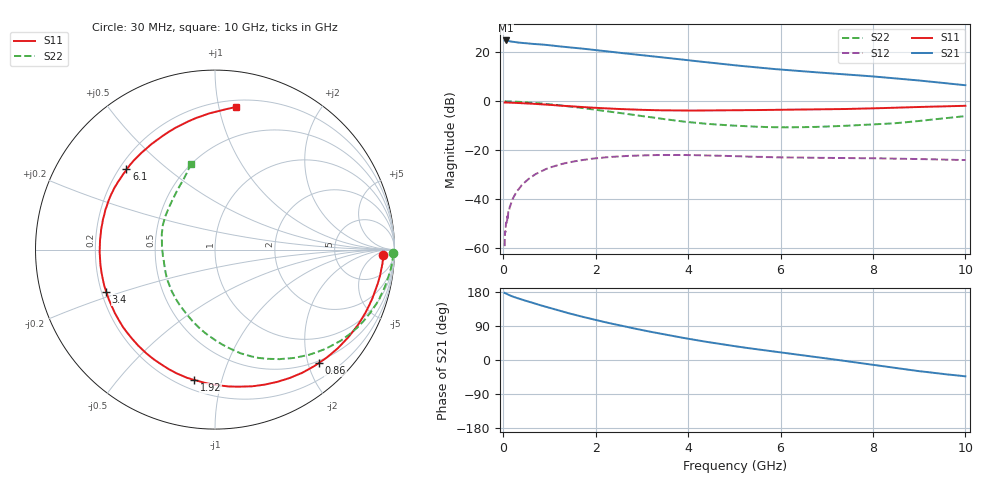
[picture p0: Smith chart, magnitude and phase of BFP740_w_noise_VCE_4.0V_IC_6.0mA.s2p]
! Infineon Technologies  Discrete & RF Semiconductors
! BFP740
! VCE =  4.0 V,  IC =  6.0 mA
! Common Emitter S-Parameters:  Jan 2016
# GHz  S  MA  R  50
!  f  S11  S21  S12  S22
! GHz  MAG  ANG  MAG  ANG  MAG  ANG  MAG  ANG
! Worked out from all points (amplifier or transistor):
!   229 points, 30 MHz to 10 GHz, reference 50 ohm
!   highest |S21| = 24.8 dB at 50 MHz (marker M1)
!   |S21| within 3 dB of that: start of sweep to 1.526 GHz
!   unconditionally stable (mu >= 1): 7.721 GHz to end of sweep
!   at 280 MHz: K = 0.13, MSG = 30.6 dB, |S12| = -37.3 dB
!   at 1.78 GHz: K = 0.25, MSG = 22.5 dB, |S12| = -23.8 dB
!   at 10 GHz: K = 1.13, MAG = 13.1 dB, |S12| = -24.0 dB
!   lowest NFmin = 0.45 dB at 450 MHz
!   S11 on the Smith chart (normalised r, x): 30 MHz: 25, -12; 860 MHz: 0.46, -2.20; 1.92 GHz: 0.26, -0.82; 3.4 GHz: 0.22, -0.18; 6.1 GHz: 0.23, +0.37; 10 GHz: 0.25, +1.13
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0.03  0.9378 -1.8  17.17 177.1  0.0011 49.5  0.9922 -1.2
0.04  0.938 -2.3  17.08 176.4  0.0022 87.9  0.9922 -1.5
0.05  0.9371 -3.0  17.29 176.1  0.0022 54.5  0.9916 -2.1
0.12  0.9326 -7.2  16.84 171.6  0.0061 78.8  0.9885 -4.8
0.26  0.9205 -15.0  16.02 165.1  0.0127 79.5  0.9749 -10.1
0.56  0.8923 -31.2  14.92 153.6  0.0263 69.4  0.939 -20.8
0.86  0.8569 -47.4  14.23 142.5  0.0386 60.4  0.8909 -31.1
1.22  0.8118 -65.7  13.09 129.9  0.0509 49.7  0.8207 -42.9
1.4  0.7898 -74.6  12.6 123.9  0.0558 45.1  0.7861 -48.2
1.7  0.7551 -89.1  11.82 114.5  0.0626 37.9  0.7264 -56.7
1.92  0.736 -99.0  11.21 108.2  0.0669 33.0  0.6838 -62.9
2.3  0.7051 -115.8  10.24 97.1  0.0725 25.0  0.6149 -73.1
2.54  0.6897 -125.4  9.637 90.9  0.0749 20.3  0.5726 -79.2
2.92  0.6687 -140.7  8.826 81.1  0.0778 13.9  0.5097 -89.0
3.4  0.6502 -158.8  7.894 69.6  0.0795 6.4  0.441 -102.2
3.8  0.6439 -172.6  7.183 60.5  0.08 0.8  0.394 -113.4
4.2  0.6428 175.3  6.508 52.0  0.079 -4.2  0.3589 -125.2
5.1  0.6532 154.0  5.282 34.9  0.075 -12.3  0.3133 -148.3
6.1  0.6656 137.8  4.33 18.5  0.071 -17.6  0.2921 -171.3
6.8  0.6772 127.3  3.857 7.3  0.0698 -20.7  0.2984 172.3
8.4  0.7309 101.4  2.965 -19.5  0.0675 -27.7  0.3504 136.2
10  0.8033 81.6  2.111 -43.1  0.0629 -31.7  0.495 105.7
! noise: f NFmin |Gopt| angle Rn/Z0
0.45  0.45  0.36  10  0.21
0.9  0.46  0.37  17  0.2
1.5  0.49  0.35  25  0.19
1.9  0.52  0.34  42  0.19
2.4  0.55  0.34  46  0.18
3.5  0.65  0.31  66  0.17
5.5  0.86  0.22  171  0.15
10  1.45  0.54  -80  0.2
